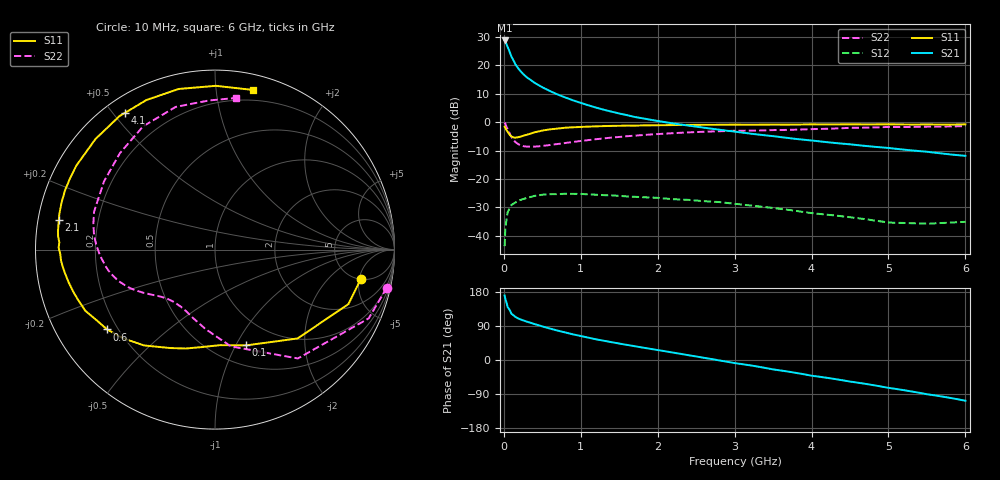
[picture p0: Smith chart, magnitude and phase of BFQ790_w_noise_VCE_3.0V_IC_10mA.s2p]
! (c) 2015  Infineon Technologies AG, Munich
! Infineon Technologies  Discrete & RF Semiconductors
! BFQ790
! VCE =  3.0 V,  IC =  10 mA
! Common Emitter S-Parameters:  May 2015
# GHz  S  MA  R  50
!  f  S11  S21  S12  S22
! GHz  MAG  ANG  MAG  ANG  MAG  ANG  MAG  ANG
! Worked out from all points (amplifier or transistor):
!   77 points, 10 MHz to 6 GHz, reference 50 ohm
!   highest |S21| = 28.7 dB at 10 MHz (marker M1)
!   |S21| within 3 dB of that: start of sweep to 60.72 MHz
!   unconditionally stable (mu >= 1): 2.437 GHz to end of sweep
!   at 130 MHz: K = 0.65, MSG = 25.0 dB, |S12| = -28.6 dB
!   at 2.2 GHz: K = 0.95, MSG = 13.3 dB, |S12| = -27.1 dB
!   at 6 GHz: K = 4.19, MAG = 2.4 dB, |S12| = -35.0 dB
!   lowest NFmin = 2.10 dB at 450 MHz
!   S11 on the Smith chart (normalised r, x): 10 MHz: 5.10, -5.30; 100 MHz: 0.71, -1.10; 600 MHz: 0.16, -0.32; 2.1 GHz: 0.06, +0.09; 4.1 GHz: 0.06, +0.54; 6 GHz: 0.12, +1.26
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0.01  0.8291 -11.3  27.33 170.2  0.0066 77.6  0.9806 -12.5
0.02  0.803 -22.2  26.43 160.6  0.0134 70.1  0.9381 -24.1
0.05  0.6758 -47.1  20.95 139.3  0.0262 49.6  0.7623 -52.7
0.1  0.5608 -72.1  14.06 121.5  0.0352 32.8  0.546 -80.7
0.15  0.5331 -87.0  10.41 113.6  0.0386 26.2  0.4459 -96.8
0.2  0.5486 -97.9  8.368 108.4  0.0422 22.8  0.4015 -107.4
0.25  0.5747 -106.5  7.051 104.7  0.0444 18.3  0.3796 -114.9
0.3  0.6023 -114.4  6.114 101.1  0.0466 15.0  0.3708 -120.7
0.4  0.6642 -126.5  4.916 94.7  0.0506 9.6  0.3713 -128.7
0.5  0.7111 -135.9  4.105 88.6  0.053 3.5  0.3818 -134.1
0.6  0.7478 -143.5  3.521 83.0  0.0541 -0.6  0.3968 -138.3
0.7  0.7715 -149.9  3.063 77.5  0.0543 -5.0  0.4129 -141.5
0.8  0.7992 -154.8  2.715 72.6  0.0552 -9.8  0.4307 -144.2
0.9  0.8122 -159.7  2.417 67.6  0.0549 -14.3  0.4481 -146.7
1.1  0.8352 -167.3  1.977 58.9  0.0537 -21.4  0.4842 -151.3
1.3  0.8525 -173.2  1.654 50.8  0.052 -27.4  0.5186 -155.5
1.5  0.8627 -178.4  1.42 43.4  0.0506 -33.4  0.5496 -159.9
2.1  0.8855 169.3  0.998 23.0  0.0454 -48.3  0.6284 -174.3
3.1  0.9011 146.5  0.655 -11.0  0.0355 -72.3  0.7066 159.7
4.1  0.9123 123.4  0.46 -44.1  0.0244 -84.6  0.7588 131.6
5.1  0.9127 100.1  0.34 -76.4  0.017 -84.9  0.8226 102.8
6  0.9146 76.5  0.256 -107.5  0.0177 -74.9  0.8526 82.2
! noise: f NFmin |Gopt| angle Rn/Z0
0.45  2.1  0.38  85  0.37
0.9  2.34  0.53  146  0.17
1.5  2.99  0.71  177  0.07
1.8  3.51  0.73  -176  0.09
2.6  4.97  0.8  -157  0.34
3.5  6.68  0.95  -139  1.34
